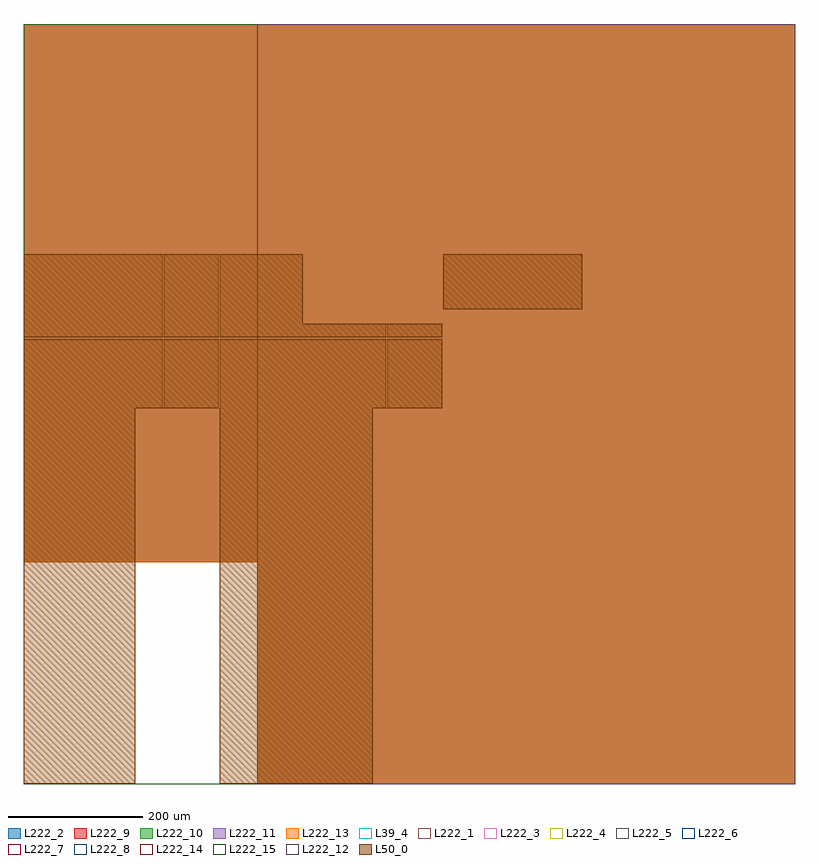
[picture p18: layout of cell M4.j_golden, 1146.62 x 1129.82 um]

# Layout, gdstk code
import gdstk
lib = gdstk.Library(unit=1e-6, precision=1e-09)
def R(c, l, rs):  # rectangles x0, y0, x1, y1
    for r in rs: c.add(gdstk.rectangle(r[:2], r[2:], *l))
L39_4 = (39, 4)
L50_0 = (50, 0)
L222_1 = (222, 1)
L222_2 = (222, 2)
L222_3 = (222, 3)
L222_4 = (222, 4)
L222_5 = (222, 5)
L222_6 = (222, 6)
L222_7 = (222, 7)
L222_8 = (222, 8)
L222_9 = (222, 9)
L222_10 = (222, 10)
L222_11 = (222, 11)
L222_12 = (222, 12)
L222_13 = (222, 13)
L222_14 = (222, 14)
L222_15 = (222, 15)

m4_j_golden = lib.new_cell('M4.j_golden')
R(m4_j_golden, L39_4, [(0,0,1146.62,1129.82)])
R(m4_j_golden, L50_0, [(0.03,0.03,20.03,20.03), (20.66,0.03,40.66,20.03), (41.76,0.03,61.76,20.03), (62.39,0.03,82.39,20.03), (83.13,0.03,103.13,20.03), (103.76,0.03,123.76,20.03), (124.86,0.03,144.86,20.03), (145.49,0.03,165.49,20.03), (290.93,0.03,310.93,20.03), (311.56,0.03,331.56,20.03), (332.27,0.03,352.27,20.03), (352.9,0.03,372.9,20.03), (374,0.03,394,20.03), (394.63,0.03,414.63,20.03), (415.37,0.03,435.37,20.03), (436,0.03,456,20.03), (457.1,0.03,477.1,20.03), (477.73,0.03,497.73,20.03), (498.34,0.03,518.34,20.03), (0.03,20.75,20.03,40.75), (20.66,20.75,40.66,40.75), (41.76,20.75,61.76,40.75), (62.39,20.75,82.39,40.75), (83.13,20.75,103.13,40.75), (103.76,20.75,123.76,40.75), (124.86,20.75,144.86,40.75), (145.49,20.75,165.49,40.75), (290.93,20.75,310.93,40.75), (311.56,20.75,331.56,40.75), (332.27,20.75,352.27,40.75), (352.9,20.75,372.9,40.75), (374,20.75,394,40.75), (394.63,20.75,414.63,40.75), (415.37,20.75,435.37,40.75), (436,20.75,456,40.75), (457.1,20.75,477.1,40.75), (477.73,20.75,497.73,40.75), (498.34,20.75,518.34,40.75), (0.03,41.38,20.03,61.38), (20.66,41.38,40.66,61.38), (41.76,41.38,61.76,61.38), (62.39,41.38,82.39,61.38), (83.13,41.38,103.13,61.38), (103.76,41.38,123.76,61.38), (124.86,41.38,144.86,61.38), (145.49,41.38,165.49,61.38), (290.93,41.38,310.93,61.38), (311.56,41.38,331.56,61.38), (332.27,41.38,352.27,61.38), (352.9,41.38,372.9,61.38), (374,41.38,394,61.38), (394.63,41.38,414.63,61.38), (415.37,41.38,435.37,61.38), (436,41.38,456,61.38), (457.1,41.38,477.1,61.38), (477.73,41.38,497.73,61.38), (498.34,41.38,518.34,61.38), (0.03,62.1,20.03,82.1), (20.66,62.1,40.66,82.1), (41.76,62.1,61.76,82.1), (62.39,62.1,82.39,82.1), (83.13,62.1,103.13,82.1), (103.76,62.1,123.76,82.1), (124.86,62.1,144.86,82.1), (145.49,62.1,165.49,82.1), (290.93,62.1,310.93,82.1), (311.56,62.1,331.56,82.1), (332.27,62.1,352.27,82.1), (352.9,62.1,372.9,82.1), (374,62.1,394,82.1), (394.63,62.1,414.63,82.1), (415.37,62.1,435.37,82.1), (436,62.1,456,82.1), (457.1,62.1,477.1,82.1), (477.73,62.1,497.73,82.1), (498.34,62.1,518.34,82.1), (0.03,82.81,20.03,102.81), (20.66,82.81,40.66,102.81), (41.76,82.81,61.76,102.81), (62.39,82.81,82.39,102.81), (83.13,82.81,103.13,102.81), (103.76,82.81,123.76,102.81), (124.86,82.81,144.86,102.81), (145.49,82.81,165.49,102.81), (290.93,82.81,310.93,102.81), (311.56,82.81,331.56,102.81), (332.27,82.81,352.27,102.81), (352.9,82.81,372.9,102.81), (374,82.81,394,102.81), (394.63,82.81,414.63,102.81), (415.37,82.81,435.37,102.81), (436,82.81,456,102.81), (457.1,82.81,477.1,102.81), (477.73,82.81,497.73,102.81), (498.34,82.81,518.34,102.81), (0.03,103.53,20.03,123.53), (20.66,103.53,40.66,123.53), (41.76,103.53,61.76,123.53), (62.39,103.53,82.39,123.53), (83.13,103.53,103.13,123.53), (103.76,103.53,123.76,123.53), (124.86,103.53,144.86,123.53), (145.49,103.53,165.49,123.53), (290.93,103.53,310.93,123.53), (311.56,103.53,331.56,123.53), (332.27,103.53,352.27,123.53), (352.9,103.53,372.9,123.53), (374,103.53,394,123.53), (394.63,103.53,414.63,123.53), (415.37,103.53,435.37,123.53), (436,103.53,456,123.53), (457.1,103.53,477.1,123.53), (477.73,103.53,497.73,123.53), (498.34,103.53,518.34,123.53), (0.03,124.16,20.03,144.16), (20.66,124.16,40.66,144.16), (41.76,124.16,61.76,144.16), (62.39,124.16,82.39,144.16), (83.13,124.16,103.13,144.16), (103.76,124.16,123.76,144.16), (124.86,124.16,144.86,144.16), (145.49,124.16,165.49,144.16), (290.93,124.16,310.93,144.16), (311.56,124.16,331.56,144.16), (332.27,124.16,352.27,144.16), (352.9,124.16,372.9,144.16), (374,124.16,394,144.16), (394.63,124.16,414.63,144.16), (415.37,124.16,435.37,144.16), (436,124.16,456,144.16), (457.1,124.16,477.1,144.16), (477.73,124.16,497.73,144.16), (498.34,124.16,518.34,144.16), (0.03,144.88,20.03,164.88), (20.66,144.88,40.66,164.88), (41.76,144.88,61.76,164.88), (62.39,144.88,82.39,164.88), (83.13,144.88,103.13,164.88), (103.76,144.88,123.76,164.88), (124.86,144.88,144.86,164.88), (145.49,144.88,165.49,164.88), (290.93,144.88,310.93,164.88), (311.56,144.88,331.56,164.88), (332.27,144.88,352.27,164.88), (352.9,144.88,372.9,164.88), (374,144.88,394,164.88), (394.63,144.88,414.63,164.88), (415.37,144.88,435.37,164.88), (436,144.88,456,164.88), (457.1,144.88,477.1,164.88), (477.73,144.88,497.73,164.88), (498.34,144.88,518.34,164.88), (0.03,165.49,20.03,185.49), (20.66,165.49,40.66,185.49), (41.76,165.49,61.76,185.49), (62.39,165.49,82.39,185.49), (83.13,165.49,103.13,185.49), (103.76,165.49,123.76,185.49), (124.86,165.49,144.86,185.49), (145.49,165.49,165.49,185.49), (290.93,165.49,310.93,185.49), (311.56,165.49,331.56,185.49), (332.27,165.49,352.27,185.49), (352.9,165.49,372.9,185.49), (374,165.49,394,185.49), (394.63,165.49,414.63,185.49), (415.37,165.49,435.37,185.49), (436,165.49,456,185.49), (457.1,165.49,477.1,185.49), (477.73,165.49,497.73,185.49), (498.34,165.49,518.34,185.49), (0.03,186.21,20.03,206.21), (20.66,186.21,40.66,206.21), (41.76,186.21,61.76,206.21), (62.39,186.21,82.39,206.21), (83.13,186.21,103.13,206.21), (103.76,186.21,123.76,206.21), (124.86,186.21,144.86,206.21), (145.49,186.21,165.49,206.21), (290.93,186.21,310.93,206.21), (311.56,186.21,331.56,206.21), (332.27,186.21,352.27,206.21), (352.9,186.21,372.9,206.21), (374,186.21,394,206.21), (394.63,186.21,414.63,206.21), (415.37,186.21,435.37,206.21), (436,186.21,456,206.21), (457.1,186.21,477.1,206.21), (477.73,186.21,497.73,206.21), (498.34,186.21,518.34,206.21), (0.03,206.84,20.03,226.84), (20.66,206.84,40.66,226.84), (41.76,206.84,61.76,226.84), (62.39,206.84,82.39,226.84), (83.13,206.84,103.13,226.84), (103.76,206.84,123.76,226.84), (124.86,206.84,144.86,226.84), (145.49,206.84,165.49,226.84), (290.93,206.84,310.93,226.84), (311.56,206.84,331.56,226.84), (332.27,206.84,352.27,226.84), (352.9,206.84,372.9,226.84), (374,206.84,394,226.84), (394.63,206.84,414.63,226.84), (415.37,206.84,435.37,226.84), (436,206.84,456,226.84), (457.1,206.84,477.1,226.84), (477.73,206.84,497.73,226.84), (498.34,206.84,518.34,226.84), (0.03,227.56,20.03,247.56), (20.66,227.56,40.66,247.56), (41.76,227.56,61.76,247.56), (62.39,227.56,82.39,247.56), (83.13,227.56,103.13,247.56), (103.76,227.56,123.76,247.56), (124.86,227.56,144.86,247.56), (145.49,227.56,165.49,247.56), (290.93,227.56,310.93,247.56), (311.56,227.56,331.56,247.56), (332.27,227.56,352.27,247.56), (352.9,227.56,372.9,247.56), (374,227.56,394,247.56), (394.63,227.56,414.63,247.56), (415.37,227.56,435.37,247.56), (436,227.56,456,247.56), (457.1,227.56,477.1,247.56), (477.73,227.56,497.73,247.56), (498.34,227.56,518.34,247.56), (0.03,248.27,20.03,268.27), (20.66,248.27,40.66,268.27), (41.76,248.27,61.76,268.27), (62.39,248.27,82.39,268.27), (83.13,248.27,103.13,268.27), (103.76,248.27,123.76,268.27), (124.86,248.27,144.86,268.27), (145.49,248.27,165.49,268.27), (290.93,248.27,310.93,268.27), (311.56,248.27,331.56,268.27), (332.27,248.27,352.27,268.27), (352.9,248.27,372.9,268.27), (374,248.27,394,268.27), (394.63,248.27,414.63,268.27), (415.37,248.27,435.37,268.27), (436,248.27,456,268.27), (457.1,248.27,477.1,268.27), (477.73,248.27,497.73,268.27), (498.34,248.27,518.34,268.27), (0.03,268.99,20.03,288.99), (20.66,268.99,40.66,288.99), (41.76,268.99,61.76,288.99), (62.39,268.99,82.39,288.99), (83.13,268.99,103.13,288.99), (103.76,268.99,123.76,288.99), (124.86,268.99,144.86,288.99), (145.49,268.99,165.49,288.99), (290.93,268.99,310.93,288.99), (311.56,268.99,331.56,288.99), (332.27,268.99,352.27,288.99), (352.9,268.99,372.9,288.99), (374,268.99,394,288.99), (394.63,268.99,414.63,288.99), (415.37,268.99,435.37,288.99), (436,268.99,456,288.99), (457.1,268.99,477.1,288.99), (477.73,268.99,497.73,288.99), (498.34,268.99,518.34,288.99), (0.03,289.62,20.03,309.62), (20.66,289.62,40.66,309.62), (41.76,289.62,61.76,309.62), (62.39,289.62,82.39,309.62), (83.13,289.62,103.13,309.62), (103.76,289.62,123.76,309.62), (124.86,289.62,144.86,309.62), (145.49,289.62,165.49,309.62), (290.93,289.62,310.93,309.62), (311.56,289.62,331.56,309.62), (332.27,289.62,352.27,309.62), (352.9,289.62,372.9,309.62), (374,289.62,394,309.62), (394.63,289.62,414.63,309.62), (415.37,289.62,435.37,309.62), (436,289.62,456,309.62), (457.1,289.62,477.1,309.62), (477.73,289.62,497.73,309.62), (498.34,289.62,518.34,309.62), (0.03,310.34,20.03,330.34), (20.66,310.34,40.66,330.34), (41.76,310.34,61.76,330.34), (62.39,310.34,82.39,330.34), (83.13,310.34,103.13,330.34), (103.76,310.34,123.76,330.34), (124.86,310.34,144.86,330.34), (145.49,310.34,165.49,330.34), (290.93,310.34,310.93,330.34), (311.56,310.34,331.56,330.34), (332.27,310.34,352.27,330.34), (352.9,310.34,372.9,330.34), (374,310.34,394,330.34), (394.63,310.34,414.63,330.34), (415.37,310.34,435.37,330.34), (436,310.34,456,330.34), (457.1,310.34,477.1,330.34), (477.73,310.34,497.73,330.34), (498.34,310.34,518.34,330.34), (0.03,330.96,20.03,350.96), (20.66,330.96,40.66,350.96), (41.76,330.96,61.76,350.96), (62.39,330.96,82.39,350.96), (83.13,330.96,103.13,350.96), (103.76,330.96,123.76,350.96), (124.86,330.96,144.86,350.96), (145.49,330.96,165.49,350.96), (290.93,330.96,310.93,350.96), (311.56,330.96,331.56,350.96), (332.27,330.96,352.27,350.96), (352.9,330.96,372.9,350.96), (374,330.96,394,350.96), (394.63,330.96,414.63,350.96), (415.37,330.96,435.37,350.96), (436,330.96,456,350.96), (457.1,330.96,477.1,350.96), (477.73,330.96,497.73,350.96), (498.34,330.96,518.34,350.96), (0.03,351.68,20.03,371.68), (20.66,351.68,40.66,371.68), (41.76,351.68,61.76,371.68), (62.39,351.68,82.39,371.68), (83.13,351.68,103.13,371.68), (103.76,351.68,123.76,371.68), (124.86,351.68,144.86,371.68), (145.49,351.68,165.49,371.68), (290.93,351.68,310.93,371.68), (311.56,351.68,331.56,371.68), (332.27,351.68,352.27,371.68), (352.9,351.68,372.9,371.68), (374,351.68,394,371.68), (394.63,351.68,414.63,371.68), (415.37,351.68,435.37,371.68), (436,351.68,456,371.68), (457.1,351.68,477.1,371.68), (477.73,351.68,497.73,371.68), (498.34,351.68,518.34,371.68), (0.03,372.31,20.03,392.31), (20.66,372.31,40.66,392.31), (41.76,372.31,61.76,392.31), (62.39,372.31,82.39,392.31), (83.13,372.31,103.13,392.31), (103.76,372.31,123.76,392.31), (124.86,372.31,144.86,392.31), (145.49,372.31,165.49,392.31), (290.93,372.31,310.93,392.31), (311.56,372.31,331.56,392.31), (332.27,372.31,352.27,392.31), (352.9,372.31,372.9,392.31), (374,372.31,394,392.31), (394.63,372.31,414.63,392.31), (415.37,372.31,435.37,392.31), (436,372.31,456,392.31), (457.1,372.31,477.1,392.31), (477.73,372.31,497.73,392.31), (498.34,372.31,518.34,392.31), (0.03,393.03,20.03,413.03), (20.66,393.03,40.66,413.03), (41.76,393.03,61.76,413.03), (62.39,393.03,82.39,413.03), (83.13,393.03,103.13,413.03), (103.76,393.03,123.76,413.03), (124.86,393.03,144.86,413.03), (145.49,393.03,165.49,413.03), (290.93,393.03,310.93,413.03), (311.56,393.03,331.56,413.03), (332.27,393.03,352.27,413.03), (352.9,393.03,372.9,413.03), (374,393.03,394,413.03), (394.63,393.03,414.63,413.03), (415.37,393.03,435.37,413.03), (436,393.03,456,413.03), (457.1,393.03,477.1,413.03), (477.73,393.03,497.73,413.03), (498.34,393.03,518.34,413.03), (0.03,413.74,20.03,433.74), (20.66,413.74,40.66,433.74), (41.76,413.74,61.76,433.74), (62.39,413.74,82.39,433.74), (83.13,413.74,103.13,433.74), (103.76,413.74,123.76,433.74), (124.86,413.74,144.86,433.74), (145.49,413.74,165.49,433.74), (290.93,413.74,310.93,433.74), (311.56,413.74,331.56,433.74), (332.27,413.74,352.27,433.74), (352.9,413.74,372.9,433.74), (374,413.74,394,433.74), (394.63,413.74,414.63,433.74), (415.37,413.74,435.37,433.74), (436,413.74,456,433.74), (457.1,413.74,477.1,433.74), (477.73,413.74,497.73,433.74), (498.34,413.74,518.34,433.74), (0.03,434.46,20.03,454.46), (20.66,434.46,40.66,454.46), (41.76,434.46,61.76,454.46), (62.39,434.46,82.39,454.46), (83.13,434.46,103.13,454.46), (103.76,434.46,123.76,454.46), (124.86,434.46,144.86,454.46), (145.49,434.46,165.49,454.46), (290.93,434.46,310.93,454.46), (311.56,434.46,331.56,454.46), (332.27,434.46,352.27,454.46), (352.9,434.46,372.9,454.46), (374,434.46,394,454.46), (394.63,434.46,414.63,454.46), (415.37,434.46,435.37,454.46), (436,434.46,456,454.46), (457.1,434.46,477.1,454.46), (477.73,434.46,497.73,454.46), (498.34,434.46,518.34,454.46), (0.03,455.09,20.03,475.09), (20.66,455.09,40.66,475.09), (41.76,455.09,61.76,475.09), (62.39,455.09,82.39,475.09), (83.13,455.09,103.13,475.09), (103.76,455.09,123.76,475.09), (124.86,455.09,144.86,475.09), (145.49,455.09,165.49,475.09), (290.93,455.09,310.93,475.09), (311.56,455.09,331.56,475.09), (332.27,455.09,352.27,475.09), (352.9,455.09,372.9,475.09), (374,455.09,394,475.09), (394.63,455.09,414.63,475.09), (415.37,455.09,435.37,475.09), (436,455.09,456,475.09), (457.1,455.09,477.1,475.09), (477.73,455.09,497.73,475.09), (498.34,455.09,518.34,475.09), (0.03,475.81,20.03,495.81), (20.66,475.81,40.66,495.81), (41.76,475.81,61.76,495.81), (62.39,475.81,82.39,495.81), (83.13,475.81,103.13,495.81), (103.76,475.81,123.76,495.81), (124.86,475.81,144.86,495.81), (145.49,475.81,165.49,495.81), (290.93,475.81,310.93,495.81), (311.56,475.81,331.56,495.81), (332.27,475.81,352.27,495.81), (352.9,475.81,372.9,495.81), (374,475.81,394,495.81), (394.63,475.81,414.63,495.81), (415.37,475.81,435.37,495.81), (436,475.81,456,495.81), (457.1,475.81,477.1,495.81), (477.73,475.81,497.73,495.81), (498.34,475.81,518.34,495.81), (0.03,496.42,20.03,516.42), (20.66,496.42,40.66,516.42), (41.76,496.42,61.76,516.42), (62.39,496.42,82.39,516.42), (83.13,496.42,103.13,516.42), (103.76,496.42,123.76,516.42), (124.86,496.42,144.86,516.42), (145.49,496.42,165.49,516.42), (290.93,496.42,310.93,516.42), (311.56,496.42,331.56,516.42), (332.27,496.42,352.27,516.42), (352.9,496.42,372.9,516.42), (374,496.42,394,516.42), (394.63,496.42,414.63,516.42), (415.37,496.42,435.37,516.42), (436,496.42,456,516.42), (457.1,496.42,477.1,516.42), (477.73,496.42,497.73,516.42), (498.34,496.42,518.34,516.42), (0.03,517.14,20.03,537.14), (20.66,517.14,40.66,537.14), (41.76,517.14,61.76,537.14), (62.39,517.14,82.39,537.14), (83.13,517.14,103.13,537.14), (103.76,517.14,123.76,537.14), (124.86,517.14,144.86,537.14), (145.49,517.14,165.49,537.14), (290.93,517.14,310.93,537.14), (311.56,517.14,331.56,537.14), (332.27,517.14,352.27,537.14), (352.9,517.14,372.9,537.14), (374,517.14,394,537.14), (394.63,517.14,414.63,537.14), (415.37,517.14,435.37,537.14), (436,517.14,456,537.14), (457.1,517.14,477.1,537.14), (477.73,517.14,497.73,537.14), (498.34,517.14,518.34,537.14), (0.03,537.77,20.03,557.77), (20.66,537.77,40.66,557.77), (41.76,537.77,61.76,557.77), (62.39,537.77,82.39,557.77), (83.13,537.77,103.13,557.77), (103.76,537.77,123.76,557.77), (124.86,537.77,144.86,557.77), (145.49,537.77,165.49,557.77), (290.93,537.77,310.93,557.77), (311.56,537.77,331.56,557.77), (332.27,537.77,352.27,557.77), (352.9,537.77,372.9,557.77), (374,537.77,394,557.77), (394.63,537.77,414.63,557.77), (415.37,537.77,435.37,557.77), (436,537.77,456,557.77), (457.1,537.77,477.1,557.77), (477.73,537.77,497.73,557.77), (498.34,537.77,518.34,557.77), (0.03,558.49,20.03,578.49), (20.66,558.49,40.66,578.49), (41.76,558.49,61.76,578.49), (62.39,558.49,82.39,578.49), (83.13,558.49,103.13,578.49), (103.76,558.49,123.76,578.49), (124.86,558.49,144.86,578.49), (145.49,558.49,165.49,578.49), (166.1,558.49,186.1,578.49), (186.73,558.49,206.73,578.49), (207.83,558.49,227.83,578.49), (228.46,558.49,248.46,578.49), (249.2,558.49,269.2,578.49), (269.83,558.49,289.83,578.49), (290.93,558.49,310.93,578.49), (311.56,558.49,331.56,578.49), (332.27,558.49,352.27,578.49), (352.9,558.49,372.9,578.49), (374,558.49,394,578.49), (394.63,558.49,414.63,578.49), (415.37,558.49,435.37,578.49), (436,558.49,456,578.49), (457.1,558.49,477.1,578.49), (477.73,558.49,497.73,578.49), (498.34,558.49,518.34,578.49), (518.97,558.49,538.97,578.49), (540.07,558.49,560.07,578.49), (560.7,558.49,580.7,578.49), (581.44,558.49,601.44,578.49), (602.07,558.49,622.07,578.49), (0.03,579.2,20.03,599.2), (20.66,579.2,40.66,599.2), (41.76,579.2,61.76,599.2), (62.39,579.2,82.39,599.2), (83.13,579.2,103.13,599.2), (103.76,579.2,123.76,599.2), (124.86,579.2,144.86,599.2), (145.49,579.2,165.49,599.2), (166.1,579.2,186.1,599.2), (186.73,579.2,206.73,599.2), (207.83,579.2,227.83,599.2), (228.46,579.2,248.46,599.2), (249.2,579.2,269.2,599.2), (269.83,579.2,289.83,599.2), (290.93,579.2,310.93,599.2), (311.56,579.2,331.56,599.2), (332.27,579.2,352.27,599.2), (352.9,579.2,372.9,599.2), (374,579.2,394,599.2), (394.63,579.2,414.63,599.2), (415.37,579.2,435.37,599.2), (436,579.2,456,599.2), (457.1,579.2,477.1,599.2), (477.73,579.2,497.73,599.2), (498.34,579.2,518.34,599.2), (518.97,579.2,538.97,599.2), (540.07,579.2,560.07,599.2), (560.7,579.2,580.7,599.2), (581.44,579.2,601.44,599.2), (602.07,579.2,622.07,599.2), (0.03,599.92,20.03,619.92), (20.66,599.92,40.66,619.92), (41.76,599.92,61.76,619.92), (62.39,599.92,82.39,619.92), (83.13,599.92,103.13,619.92), (103.76,599.92,123.76,619.92), (124.86,599.92,144.86,619.92), (145.49,599.92,165.49,619.92), (166.1,599.92,186.1,619.92), (186.73,599.92,206.73,619.92), (207.83,599.92,227.83,619.92), (228.46,599.92,248.46,619.92), (249.2,599.92,269.2,619.92), (269.83,599.92,289.83,619.92), (290.93,599.92,310.93,619.92), (311.56,599.92,331.56,619.92), (332.27,599.92,352.27,619.92), (352.9,599.92,372.9,619.92), (374,599.92,394,619.92), (394.63,599.92,414.63,619.92), (415.37,599.92,435.37,619.92), (436,599.92,456,619.92), (457.1,599.92,477.1,619.92), (477.73,599.92,497.73,619.92), (498.34,599.92,518.34,619.92), (518.97,599.92,538.97,619.92), (540.07,599.92,560.07,619.92), (560.7,599.92,580.7,619.92), (581.44,599.92,601.44,619.92), (602.07,599.92,622.07,619.92), (0.03,620.55,20.03,640.55), (20.66,620.55,40.66,640.55), (41.76,620.55,61.76,640.55), (62.39,620.55,82.39,640.55), (83.13,620.55,103.13,640.55), (103.76,620.55,123.76,640.55), (124.86,620.55,144.86,640.55), (145.49,620.55,165.49,640.55), (166.1,620.55,186.1,640.55), (186.73,620.55,206.73,640.55), (207.83,620.55,227.83,640.55), (228.46,620.55,248.46,640.55), (249.2,620.55,269.2,640.55), (269.83,620.55,289.83,640.55), (290.93,620.55,310.93,640.55), (311.56,620.55,331.56,640.55), (332.27,620.55,352.27,640.55), (352.9,620.55,372.9,640.55), (374,620.55,394,640.55), (394.63,620.55,414.63,640.55), (415.37,620.55,435.37,640.55), (436,620.55,456,640.55), (457.1,620.55,477.1,640.55), (477.73,620.55,497.73,640.55), (498.34,620.55,518.34,640.55), (518.97,620.55,538.97,640.55), (540.07,620.55,560.07,640.55), (560.7,620.55,580.7,640.55), (581.44,620.55,601.44,640.55), (602.07,620.55,622.07,640.55), (0.03,641.27,20.03,661.27), (20.66,641.27,40.66,661.27), (41.76,641.27,61.76,661.27), (62.39,641.27,82.39,661.27), (83.13,641.27,103.13,661.27), (103.76,641.27,123.76,661.27), (124.86,641.27,144.86,661.27), (145.49,641.27,165.49,661.27), (166.1,641.27,186.1,661.27), (186.73,641.27,206.73,661.27), (207.83,641.27,227.83,661.27), (228.46,641.27,248.46,661.27), (249.2,641.27,269.2,661.27), (269.83,641.27,289.83,661.27), (290.93,641.27,310.93,661.27), (311.56,641.27,331.56,661.27), (332.27,641.27,352.27,661.27), (352.9,641.27,372.9,661.27), (374,641.27,394,661.27), (394.63,641.27,414.63,661.27), (415.37,641.27,435.37,661.27), (436,641.27,456,661.27), (457.1,641.27,477.1,661.27), (477.73,641.27,497.73,661.27), (498.34,641.27,518.34,661.27), (518.97,641.27,538.97,661.27), (540.07,641.27,560.07,661.27), (560.7,641.27,580.7,661.27), (581.44,641.27,601.44,661.27), (602.07,641.27,622.07,661.27), (0.03,664.1,20.03,684.1), (20.66,664.1,40.66,684.1), (41.76,664.1,61.76,684.1), (62.39,664.1,82.39,684.1), (83.13,664.1,103.13,684.1), (103.76,664.1,123.76,684.1), (124.86,664.1,144.86,684.1), (145.49,664.1,165.49,684.1), (166.1,664.1,186.1,684.1), (186.73,664.1,206.73,684.1), (207.83,664.1,227.83,684.1), (228.46,664.1,248.46,684.1), (249.2,664.1,269.2,684.1), (269.83,664.1,289.83,684.1), (290.93,664.1,310.93,684.1), (311.56,664.1,331.56,684.1), (332.27,664.1,352.27,684.1), (352.9,664.1,372.9,684.1), (374,664.1,394,684.1), (394.63,664.1,414.63,684.1), (415.37,664.1,435.37,684.1), (436,664.1,456,684.1), (457.1,664.1,477.1,684.1), (477.73,664.1,497.73,684.1), (498.34,664.1,518.34,684.1), (518.97,664.1,538.97,684.1), (540.07,664.1,560.07,684.1), (560.7,664.1,580.7,684.1), (581.44,664.1,601.44,684.1), (602.07,664.1,622.07,684.1), (0.03,684.82,20.03,704.82), (20.66,684.82,40.66,704.82), (41.76,684.82,61.76,704.82), (62.39,684.82,82.39,704.82), (83.13,684.82,103.13,704.82), (103.76,684.82,123.76,704.82), (124.86,684.82,144.86,704.82), (145.49,684.82,165.49,704.82), (166.1,684.82,186.1,704.82), (186.73,684.82,206.73,704.82), (207.83,684.82,227.83,704.82), (228.46,684.82,248.46,704.82), (249.2,684.82,269.2,704.82), (269.83,684.82,289.83,704.82), (290.93,684.82,310.93,704.82), (311.56,684.82,331.56,704.82), (332.27,684.82,352.27,704.82), (352.9,684.82,372.9,704.82), (374,684.82,394,704.82), (394.63,684.82,414.63,704.82), (0.03,705.45,20.03,725.45), (20.66,705.45,40.66,725.45), (41.76,705.45,61.76,725.45), (62.39,705.45,82.39,725.45), (83.13,705.45,103.13,725.45), (103.76,705.45,123.76,725.45), (124.86,705.45,144.86,725.45), (145.49,705.45,165.49,725.45), (166.1,705.45,186.1,725.45), (186.73,705.45,206.73,725.45), (207.83,705.45,227.83,725.45), (228.46,705.45,248.46,725.45), (249.2,705.45,269.2,725.45), (269.83,705.45,289.83,725.45), (290.93,705.45,310.93,725.45), (311.56,705.45,331.56,725.45), (332.27,705.45,352.27,725.45), (352.9,705.45,372.9,725.45), (374,705.45,394,725.45), (394.63,705.45,414.63,725.45), (623.17,705.45,643.17,725.45), (643.8,705.45,663.8,725.45), (664.48,705.45,684.48,725.45), (685.11,705.45,705.11,725.45), (706.21,705.45,726.21,725.45), (726.84,705.45,746.84,725.45), (747.58,705.45,767.58,725.45), (768.21,705.45,788.21,725.45), (789.31,705.45,809.31,725.45), (809.94,705.45,829.94,725.45), (0.03,726.17,20.03,746.17), (20.66,726.17,40.66,746.17), (41.76,726.17,61.76,746.17), (62.39,726.17,82.39,746.17), (83.13,726.17,103.13,746.17), (103.76,726.17,123.76,746.17), (124.86,726.17,144.86,746.17), (145.49,726.17,165.49,746.17), (166.1,726.17,186.1,746.17), (186.73,726.17,206.73,746.17), (207.83,726.17,227.83,746.17), (228.46,726.17,248.46,746.17), (249.2,726.17,269.2,746.17), (269.83,726.17,289.83,746.17), (290.93,726.17,310.93,746.17), (311.56,726.17,331.56,746.17), (332.27,726.17,352.27,746.17), (352.9,726.17,372.9,746.17), (374,726.17,394,746.17), (394.63,726.17,414.63,746.17), (623.17,726.17,643.17,746.17), (643.8,726.17,663.8,746.17), (664.48,726.17,684.48,746.17), (685.11,726.17,705.11,746.17), (706.21,726.17,726.21,746.17), (726.84,726.17,746.84,746.17), (747.58,726.17,767.58,746.17), (768.21,726.17,788.21,746.17), (789.31,726.17,809.31,746.17), (809.94,726.17,829.94,746.17), (0.03,746.88,20.03,766.88), (20.66,746.88,40.66,766.88), (41.76,746.88,61.76,766.88), (62.39,746.88,82.39,766.88), (83.13,746.88,103.13,766.88), (103.76,746.88,123.76,766.88), (124.86,746.88,144.86,766.88), (145.49,746.88,165.49,766.88), (166.1,746.88,186.1,766.88), (186.73,746.88,206.73,766.88), (207.83,746.88,227.83,766.88), (228.46,746.88,248.46,766.88), (249.2,746.88,269.2,766.88), (269.83,746.88,289.83,766.88), (290.93,746.88,310.93,766.88), (311.56,746.88,331.56,766.88), (332.27,746.88,352.27,766.88), (352.9,746.88,372.9,766.88), (374,746.88,394,766.88), (394.63,746.88,414.63,766.88), (623.17,746.88,643.17,766.88), (643.8,746.88,663.8,766.88), (664.48,746.88,684.48,766.88), (685.11,746.88,705.11,766.88), (706.21,746.88,726.21,766.88), (726.84,746.88,746.84,766.88), (747.58,746.88,767.58,766.88), (768.21,746.88,788.21,766.88), (789.31,746.88,809.31,766.88), (809.94,746.88,829.94,766.88), (0.03,767.6,20.03,787.6), (20.66,767.6,40.66,787.6), (41.76,767.6,61.76,787.6), (62.39,767.6,82.39,787.6), (83.13,767.6,103.13,787.6), (103.76,767.6,123.76,787.6), (124.86,767.6,144.86,787.6), (145.49,767.6,165.49,787.6), (166.1,767.6,186.1,787.6), (186.73,767.6,206.73,787.6), (207.83,767.6,227.83,787.6), (228.46,767.6,248.46,787.6), (249.2,767.6,269.2,787.6), (269.83,767.6,289.83,787.6), (290.93,767.6,310.93,787.6), (311.56,767.6,331.56,787.6), (332.27,767.6,352.27,787.6), (352.9,767.6,372.9,787.6), (374,767.6,394,787.6), (394.63,767.6,414.63,787.6), (623.17,767.6,643.17,787.6), (643.8,767.6,663.8,787.6), (664.48,767.6,684.48,787.6), (685.11,767.6,705.11,787.6), (706.21,767.6,726.21,787.6), (726.84,767.6,746.84,787.6), (747.58,767.6,767.58,787.6), (768.21,767.6,788.21,787.6), (789.31,767.6,809.31,787.6), (809.94,767.6,829.94,787.6)])
R(m4_j_golden, L222_1, [(0,0,1146.62,1129.82)])
R(m4_j_golden, L222_2, [(346.62,0,1146.62,800), (0,329.82,800,1129.82), (346.62,329.82,1146.62,1129.82)])
R(m4_j_golden, L222_3, [(0,0,1146.62,1129.82)])
R(m4_j_golden, L222_4, [(0,0,1146.62,1129.82)])
R(m4_j_golden, L222_5, [(0,0,1146.62,1129.82)])
R(m4_j_golden, L222_6, [(0,0,1146.62,1129.82)])
R(m4_j_golden, L222_7, [(0,0,1146.62,1129.82)])
R(m4_j_golden, L222_8, [(0,0,1146.62,1129.82)])
R(m4_j_golden, L222_9, [(346.62,0,1146.62,800), (0,329.82,800,1129.82), (346.62,329.82,1146.62,1129.82)])
R(m4_j_golden, L222_10, [(346.62,0,1146.62,800), (0,329.82,800,1129.82), (346.62,329.82,1146.62,1129.82)])
R(m4_j_golden, L222_11, [(346.62,0,1146.62,800), (0,329.82,800,1129.82), (346.62,329.82,1146.62,1129.82)])
R(m4_j_golden, L222_12, [(346.62,0,1146.62,800), (346.62,329.82,1146.62,1129.82)])
R(m4_j_golden, L222_13, [(346.62,0,1146.62,800), (0,329.82,800,1129.82), (346.62,329.82,1146.62,1129.82)])
R(m4_j_golden, L222_14, [(0,0,1146.62,1129.82)])
R(m4_j_golden, L222_15, [(0,0,1146.62,1129.82)])

lib.write_gds('M4.j_golden.gds')
